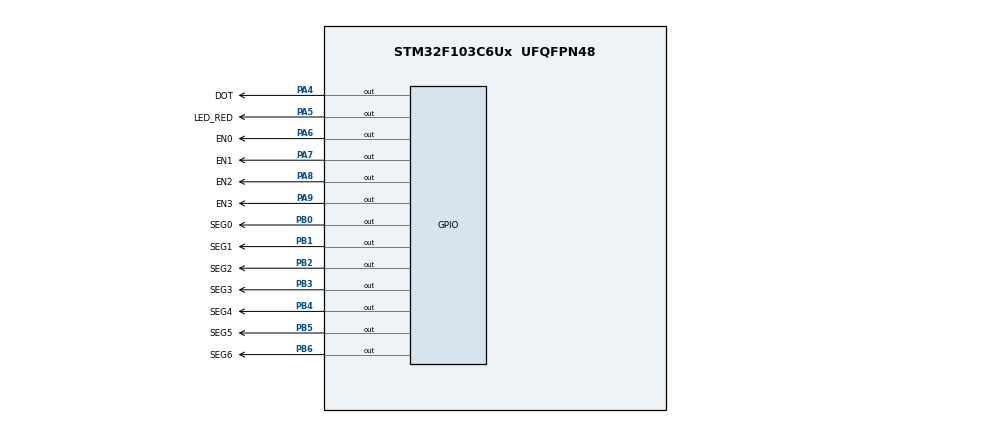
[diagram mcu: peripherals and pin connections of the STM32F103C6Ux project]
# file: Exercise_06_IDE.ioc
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Mcu.Family=STM32F1
Mcu.Name=STM32F103C6Ux
Mcu.Package=UFQFPN48
NVIC.PriorityGroup=NVIC_PRIORITYGROUP_4
NVIC.TIM2_IRQn=true\:0\:0\:false\:false\:true\:true\:true\:true
PA13.Mode=Serial_Wire
PA13.Signal=SYS_JTMS-SWDIO
PA14.Mode=Serial_Wire
PA14.Signal=SYS_JTCK-SWCLK
PA4.GPIO_Label=DOT
PA4.PinState=GPIO_PIN_SET
PA4.Signal=GPIO_Output
PA5.GPIO_Label=LED_RED
PA5.PinState=GPIO_PIN_SET
PA5.Signal=GPIO_Output
PA6.GPIO_Label=EN0
PA6.PinState=GPIO_PIN_SET
PA6.Signal=GPIO_Output
PA7.GPIO_Label=EN1
PA7.PinState=GPIO_PIN_SET
PA7.Signal=GPIO_Output
PA8.GPIO_Label=EN2
PA8.PinState=GPIO_PIN_SET
PA8.Signal=GPIO_Output
PA9.GPIO_Label=EN3
PA9.PinState=GPIO_PIN_SET
PA9.Signal=GPIO_Output
PB0.GPIO_Label=SEG0
PB0.PinState=GPIO_PIN_SET
PB0.Signal=GPIO_Output
PB1.GPIO_Label=SEG1
PB1.PinState=GPIO_PIN_SET
PB1.Signal=GPIO_Output
PB2.GPIO_Label=SEG2
PB2.PinState=GPIO_PIN_SET
PB2.Signal=GPIO_Output
PB3.GPIO_Label=SEG3
PB3.PinState=GPIO_PIN_SET
PB3.Signal=GPIO_Output
PB4.GPIO_Label=SEG4
PB4.PinState=GPIO_PIN_SET
PB4.Signal=GPIO_Output
PB5.GPIO_Label=SEG5
PB5.PinState=GPIO_PIN_SET
PB5.Signal=GPIO_Output
PB6.GPIO_Label=SEG6
PB6.PinState=GPIO_PIN_SET
PB6.Signal=GPIO_Output
ProjectManager.HeapSize=0x200
ProjectManager.StackSize=0x400
ProjectManager.TargetToolchain=STM32CubeIDE
RCC.APB1Freq_Value=8000000
RCC.APB2Freq_Value=8000000
TIM2.Period=9
TIM2.Prescaler=7999
VP_TIM2_VS_ClockSourceINT.Mode=Internal
board=custom

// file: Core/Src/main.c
/* USER CODE BEGIN Header */
/**
  ******************************************************************************
  * @file           : main.c
  * @brief          : Main program body
  ******************************************************************************
  * @attention
  *
  * Copyright (c) 2026 STMicroelectronics.
  * All rights reserved.
  *
  * This software is licensed under terms that can be found in the LICENSE file
  * in the root directory of this software component.
  * If no LICENSE file comes with this software, it is provided AS-IS.
  *
  ******************************************************************************
  */
/* USER CODE END Header */
#include "main.h"

/* USER CODE BEGIN PD */
#define TIMER_CYCLE 10
/* USER CODE END PD */

TIM_HandleTypeDef htim2;

/* USER CODE BEGIN PV */
const int MAX_LED = 4;
int index_led = 0;

volatile int led_buffer[4] = {1, 5, 0, 8};

int hour = 15;
int minute = 8;
int second = 50;

volatile int timer0_counter = 0;
volatile int timer0_flag = 0;
/* USER CODE END PV */

void SystemClock_Config(void);
static void MX_GPIO_Init(void);
static void MX_TIM2_Init(void);

/* USER CODE BEGIN PFP */
static void display7SEG(int number);
void update7SEG(int index);
void updateClockBuffer(void);
void setTimer0(int duration);
void timer_run(void);
/* USER CODE END PFP */

/* USER CODE BEGIN 0 */
void setTimer0(int duration)
{
    uint32_t saved_primask = __get_PRIMASK();
    __disable_irq();

    /* Integer division follows the software timer in the manual. */
    timer0_counter = duration / TIMER_CYCLE;
    timer0_flag = 0;

    __set_PRIMASK(saved_primask);
}

void timer_run(void)
{
    if (timer0_counter > 0)
    {
        timer0_counter--;

        if (timer0_counter == 0)
        {
            timer0_flag = 1;
        }
    }
}
/* USER CODE END 0 */

int main(void)
{

  /* MCU Configuration--------------------------------------------------------*/

  /* Reset of all peripherals, Initializes the Flash interface and the Systick. */
  HAL_Init();

  /* Configure the system clock */
  SystemClock_Config();

  /* Initialize all configured peripherals */
  MX_GPIO_Init();
  MX_TIM2_Init();
  /* USER CODE BEGIN 2 */
  /* D1 is active-low and remains ON. */
  HAL_GPIO_WritePin(
      LED_RED_GPIO_Port, LED_RED_Pin, GPIO_PIN_RESET
  );

  /* D2 and D3 are initially OFF. */
  HAL_GPIO_WritePin(
      DOT_GPIO_Port, DOT_Pin, GPIO_PIN_SET
  );

  updateClockBuffer();

  /* Display the first digit immediately. */
  update7SEG(0);
  index_led = 1;

  setTimer0(1000);

  if (HAL_TIM_Base_Start_IT(&htim2) != HAL_OK)
  {
      Error_Handler();
  }
  /* USER CODE END 2 */

  /* Infinite loop */
  while (1)
  {

    /* USER CODE BEGIN 3 */
      if (timer0_flag == 1)
      {
          setTimer0(1000);

          second++;

          if (second >= 60)
          {
              second = 0;
              minute++;
          }

          if (minute >= 60)
          {
              minute = 0;
              hour++;
          }

          if (hour >= 24)
          {
              hour = 0;
          }

          updateClockBuffer();
      }
  }
  /* USER CODE END 3 */
}

void SystemClock_Config(void)
{
  RCC_OscInitTypeDef RCC_OscInitStruct = {0};
  RCC_ClkInitTypeDef RCC_ClkInitStruct = {0};

  /** Initializes the RCC Oscillators according to the specified parameters
  * in the RCC_OscInitTypeDef structure.
  */
  RCC_OscInitStruct.OscillatorType = RCC_OSCILLATORTYPE_HSI;
  RCC_OscInitStruct.HSIState = RCC_HSI_ON;
  RCC_OscInitStruct.HSICalibrationValue = RCC_HSICALIBRATION_DEFAULT;
  RCC_OscInitStruct.PLL.PLLState = RCC_PLL_NONE;
  if (HAL_RCC_OscConfig(&RCC_OscInitStruct) != HAL_OK)
  {
    Error_Handler();
  }

  /** Initializes the CPU, AHB and APB buses clocks
  */
  RCC_ClkInitStruct.ClockType = RCC_CLOCKTYPE_HCLK|RCC_CLOCKTYPE_SYSCLK
                              |RCC_CLOCKTYPE_PCLK1|RCC_CLOCKTYPE_PCLK2;
  RCC_ClkInitStruct.SYSCLKSource = RCC_SYSCLKSOURCE_HSI;
  RCC_ClkInitStruct.AHBCLKDivider = RCC_SYSCLK_DIV1;
  RCC_ClkInitStruct.APB1CLKDivider = RCC_HCLK_DIV1;
  RCC_ClkInitStruct.APB2CLKDivider = RCC_HCLK_DIV1;

  if (HAL_RCC_ClockConfig(&RCC_ClkInitStruct, FLASH_LATENCY_0) != HAL_OK)
  {
    Error_Handler();
  }
}

static void MX_TIM2_Init(void)
{

  TIM_ClockConfigTypeDef sClockSourceConfig = {0};
  TIM_MasterConfigTypeDef sMasterConfig = {0};

  htim2.Instance = TIM2;
  htim2.Init.Prescaler = 7999;
  htim2.Init.CounterMode = TIM_COUNTERMODE_UP;
  htim2.Init.Period = 9;
  htim2.Init.ClockDivision = TIM_CLOCKDIVISION_DIV1;
  htim2.Init.AutoReloadPreload = TIM_AUTORELOAD_PRELOAD_DISABLE;
  if (HAL_TIM_Base_Init(&htim2) != HAL_OK)
  {
    Error_Handler();
  }
  sClockSourceConfig.ClockSource = TIM_CLOCKSOURCE_INTERNAL;
  if (HAL_TIM_ConfigClockSource(&htim2, &sClockSourceConfig) != HAL_OK)
  {
    Error_Handler();
  }
  sMasterConfig.MasterOutputTrigger = TIM_TRGO_RESET;
  sMasterConfig.MasterSlaveMode = TIM_MASTERSLAVEMODE_DISABLE;
  if (HAL_TIMEx_MasterConfigSynchronization(&htim2, &sMasterConfig) != HAL_OK)
  {
    Error_Handler();
  }

}

static void MX_GPIO_Init(void)
{
  GPIO_InitTypeDef GPIO_InitStruct = {0};

  /* GPIO Ports Clock Enable */
  __HAL_RCC_GPIOA_CLK_ENABLE();
  __HAL_RCC_GPIOB_CLK_ENABLE();

  /*Configure GPIO pin Output Level */
  HAL_GPIO_WritePin(GPIOA, DOT_Pin|LED_RED_Pin|EN0_Pin|EN1_Pin
                          |EN2_Pin|EN3_Pin, GPIO_PIN_SET);

  /*Configure GPIO pin Output Level */
  HAL_GPIO_WritePin(GPIOB, SEG0_Pin|SEG1_Pin|SEG2_Pin|SEG3_Pin
                          |SEG4_Pin|SEG5_Pin|SEG6_Pin, GPIO_PIN_SET);

  /*Configure GPIO pins : DOT_Pin LED_RED_Pin EN0_Pin EN1_Pin
                           EN2_Pin EN3_Pin */
  GPIO_InitStruct.Pin = DOT_Pin|LED_RED_Pin|EN0_Pin|EN1_Pin
                          |EN2_Pin|EN3_Pin;
  GPIO_InitStruct.Mode = GPIO_MODE_OUTPUT_PP;
  GPIO_InitStruct.Pull = GPIO_NOPULL;
  GPIO_InitStruct.Speed = GPIO_SPEED_FREQ_LOW;
  HAL_GPIO_Init(GPIOA, &GPIO_InitStruct);

  /*Configure GPIO pins : SEG0_Pin SEG1_Pin SEG2_Pin SEG3_Pin
                           SEG4_Pin SEG5_Pin SEG6_Pin */
  GPIO_InitStruct.Pin = SEG0_Pin|SEG1_Pin|SEG2_Pin|SEG3_Pin
                          |SEG4_Pin|SEG5_Pin|SEG6_Pin;
  GPIO_InitStruct.Mode = GPIO_MODE_OUTPUT_PP;
  GPIO_InitStruct.Pull = GPIO_NOPULL;
  GPIO_InitStruct.Speed = GPIO_SPEED_FREQ_LOW;
  HAL_GPIO_Init(GPIOB, &GPIO_InitStruct);

}

/* USER CODE BEGIN 4 */
void updateClockBuffer(void)
{
    int digits[4] = {
        hour / 10,
        hour % 10,
        minute / 10,
        minute % 10
    };

    /* Prevent the interrupt from reading a partially updated buffer. */
    uint32_t saved_primask = __get_PRIMASK();
    __disable_irq();

    for (int i = 0; i < MAX_LED; i++)
    {
        led_buffer[i] = digits[i];
    }

    __set_PRIMASK(saved_primask);
}

static void display7SEG(int number)
{
    uint8_t pattern;

    /* Bit 0..6 corresponds to segments a..g. */
    switch (number)
    {
        case 0: pattern = 0x3F; break;
        case 1: pattern = 0x06; break;
        case 2: pattern = 0x5B; break;
        case 3: pattern = 0x4F; break;
        case 4: pattern = 0x66; break;
        case 5: pattern = 0x6D; break;
        case 6: pattern = 0x7D; break;
        case 7: pattern = 0x07; break;
        case 8: pattern = 0x7F; break;
        case 9: pattern = 0x6F; break;
        default: pattern = 0x00; break;
    }

    /* Common-anode displays: LOW turns a segment ON. */
    HAL_GPIO_WritePin(SEG0_GPIO_Port, SEG0_Pin,
        (pattern & 0x01U) ? GPIO_PIN_RESET : GPIO_PIN_SET);
    HAL_GPIO_WritePin(SEG1_GPIO_Port, SEG1_Pin,
        (pattern & 0x02U) ? GPIO_PIN_RESET : GPIO_PIN_SET);
    HAL_GPIO_WritePin(SEG2_GPIO_Port, SEG2_Pin,
        (pattern & 0x04U) ? GPIO_PIN_RESET : GPIO_PIN_SET);
    HAL_GPIO_WritePin(SEG3_GPIO_Port, SEG3_Pin,
        (pattern & 0x08U) ? GPIO_PIN_RESET : GPIO_PIN_SET);
    HAL_GPIO_WritePin(SEG4_GPIO_Port, SEG4_Pin,
        (pattern & 0x10U) ? GPIO_PIN_RESET : GPIO_PIN_SET);
    HAL_GPIO_WritePin(SEG5_GPIO_Port, SEG5_Pin,
        (pattern & 0x20U) ? GPIO_PIN_RESET : GPIO_PIN_SET);
    HAL_GPIO_WritePin(SEG6_GPIO_Port, SEG6_Pin,
        (pattern & 0x40U) ? GPIO_PIN_RESET : GPIO_PIN_SET);
}

void update7SEG(int index)
{
    /* Disable all digits before changing segment data. */
    HAL_GPIO_WritePin(EN0_GPIO_Port, EN0_Pin, GPIO_PIN_SET);
    HAL_GPIO_WritePin(EN1_GPIO_Port, EN1_Pin, GPIO_PIN_SET);
    HAL_GPIO_WritePin(EN2_GPIO_Port, EN2_Pin, GPIO_PIN_SET);
    HAL_GPIO_WritePin(EN3_GPIO_Port, EN3_Pin, GPIO_PIN_SET);

    switch (index)
    {
        case 0:
            display7SEG(led_buffer[0]);
            HAL_GPIO_WritePin(
                EN0_GPIO_Port, EN0_Pin, GPIO_PIN_RESET);
            break;

        case 1:
            display7SEG(led_buffer[1]);
            HAL_GPIO_WritePin(
                EN1_GPIO_Port, EN1_Pin, GPIO_PIN_RESET);
            break;

        case 2:
            display7SEG(led_buffer[2]);
            HAL_GPIO_WritePin(
                EN2_GPIO_Port, EN2_Pin, GPIO_PIN_RESET);
            break;

        case 3:
            display7SEG(led_buffer[3]);
            HAL_GPIO_WritePin(
                EN3_GPIO_Port, EN3_Pin, GPIO_PIN_RESET);
            break;

        default:
            break;
    }
}

void HAL_TIM_PeriodElapsedCallback(TIM_HandleTypeDef *htim)
{
    static uint8_t scan_counter = 0;
    static uint8_t dot_counter = 0;

    if (htim->Instance != TIM2)
    {
        return;
    }

    /* Run the software timer every 10 ms. */
    timer_run();

    /* Select the next digit every 250 ms. */
    scan_counter++;
    if (scan_counter >= 25)
    {
        scan_counter = 0;

        update7SEG(index_led);
        index_led++;

        if (index_led >= MAX_LED)
        {
            index_led = 0;
        }
    }

    /* Toggle D2/D3 every 1000 ms. */
    dot_counter++;
    if (dot_counter >= 100)
    {
        dot_counter = 0;
        HAL_GPIO_TogglePin(DOT_GPIO_Port, DOT_Pin);
    }
}
/* USER CODE END 4 */

void Error_Handler(void)
{
  __disable_irq();
  while (1)
  {
  }
}
